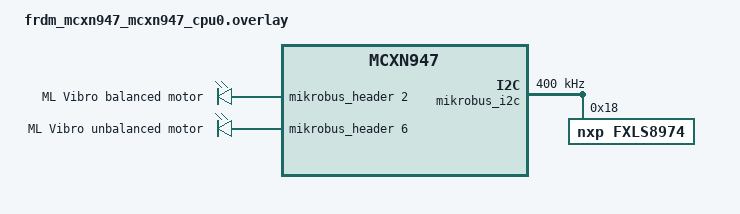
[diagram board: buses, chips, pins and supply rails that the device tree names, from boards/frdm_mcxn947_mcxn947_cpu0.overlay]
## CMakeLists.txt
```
# eIQ predictive-maintenance -- vibration (FRDM-MCXN947 + ML Vibro Sens Click).
# Capture mode (default) is network-free. Connect mode (-DEXTRA_CONF_FILE=
# connect.conf) pulls in the iotc-zephyr-sdk module (via ZEPHYR_EXTRA_MODULES)
# and the baked device credentials header.
cmake_minimum_required(VERSION 3.20.0)
find_package(Zephyr REQUIRED HINTS $ENV{ZEPHYR_BASE})
project(iotc_eiq_pdm_vibration)

target_sources(app PRIVATE src/main.c)

# quickstart_credentials.h: PUBLIC CA roots only (no device key). Connect mode
# provisions the per-device key/cert on-chip (iotcprov provision) into NVS.
# Capture mode builds without the SDK module, so only resolve it when needed.
if(CONFIG_IOTCONNECT)
  include(${CMAKE_CURRENT_SOURCE_DIR}/../../common/cmake/iotc_sdk_samples.cmake)
  target_include_directories(app PRIVATE ${IOTC_SDK_SAMPLES_DIR}/quickstart/src)
endif()

# Optional eIQ Time Series Studio model. Drop the TSS-generated deployment
# package (libtss.a + TimeSeries.h) into ./model/ and it links into the connect
# build, replacing the RMS heuristic with the trained per-sample classifier.
# The library is NXP-proprietary (git-ignored); see model/README.md to generate.
set(EIQ_MODEL_DIR ${CMAKE_CURRENT_SOURCE_DIR}/model)
if(CONFIG_IOTCONNECT AND EXISTS ${EIQ_MODEL_DIR}/libtss.a
                     AND EXISTS ${EIQ_MODEL_DIR}/TimeSeries.h)
  message(STATUS "eiq-pdm-vibration: linking eIQ TSS model from ${EIQ_MODEL_DIR}")
  target_include_directories(app PRIVATE ${EIQ_MODEL_DIR})
  target_link_libraries(app PRIVATE ${EIQ_MODEL_DIR}/libtss.a)
  target_compile_definitions(app PRIVATE HAVE_EIQ_MODEL)
endif()
```

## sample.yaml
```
sample:
  name: eIQ PdM vibration capture
  description: >
    Capture 3-axis vibration from a MIKROE ML Vibro Sens Click (NXP FXLS8974CF)
    on the FRDM-MCXN947 mikroBUS and print CSV for NXP eIQ Time Series Studio, to
    train a machine-vibration anomaly / predictive-maintenance model.
tests:
  sample.iotconnect.eiq_pdm_vibration_capture:
    harness: console
    platform_allow:
      - frdm_mcxn947/mcxn947/cpu0
    harness_config:
      type: one_line
      regex:
        - "VIB,\\d+,.*"
    tags:
      - iotconnect
      - eiq
      - sensor
```

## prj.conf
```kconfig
# eIQ PdM vibration capture -- network-free (I2C + console only).
CONFIG_PRINTK=y

# mikroBUS I2C + the FXLS8974 accelerometer via the Zephyr sensor API.
CONFIG_I2C=y
CONFIG_SENSOR=y
CONFIG_FXLS8974=y
CONFIG_FXLS8974_TRIGGER_NONE=y

# GPIO to drive the Click's onboard balanced/unbalanced vibration motors.
CONFIG_GPIO=y

# printk("%.4f", ...) needs float-capable libc output.
CONFIG_PICOLIBC=y
CONFIG_PICOLIBC_IO_FLOAT=y

CONFIG_MAIN_STACK_SIZE=4096
```

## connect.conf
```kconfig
# Phase 2 -- connect to /IOTCONNECT and publish vib telemetry + handle C2D.
# Layer this on the base (capture) build:
#   -DEXTRA_CONF_FILE=connect.conf -DEXTRA_DTC_OVERLAY_FILE=connect.overlay
# plus the SDK module paths (ZEPHYR_EXTRA_MODULES / ZEPHYR_IOTC_C_LIB_MODULE_DIR).

CONFIG_IOTCONNECT=y
CONFIG_IOTCONNECT_DRA=y
CONFIG_IOTCONNECT_CPID=""
CONFIG_IOTCONNECT_ENV=""
CONFIG_IOTCONNECT_DUID=""
CONFIG_IOTCONNECT_CT_AWS=y
CONFIG_IOTCONNECT_DRA_DISCOVERY_HOST="awsdiscovery.iotconnect.io"

# --- On-device provisioning: the device generates its OWN key + self-signed
# cert (iotcprov provision <duid>), you register it and paste the config
# (iotc config), identity is stored in NVS. No device key is compiled in --
# only public CA roots (quickstart_credentials.h). ----------------------------
CONFIG_IOTCONNECT_IDENTITY_NVS=y
CONFIG_IOTCONNECT_ONDEVICE_KEYGEN=y
CONFIG_IOTCONNECT_SHELL=y
CONFIG_MBEDTLS_USER_CONFIG_FILE="iotc_mbedtls_config.h"   # enables X509_CREATE_C
CONFIG_PSA_WANT_ALG_ECDSA=y
CONFIG_PSA_WANT_KEY_TYPE_ECC_KEY_PAIR_GENERATE=y
CONFIG_PSA_WANT_KEY_TYPE_ECC_KEY_PAIR_EXPORT=y
CONFIG_PSA_WANT_ECC_SECP_R1_256=y
CONFIG_SHELL=y
CONFIG_SHELL_CMD_BUFF_SIZE=3072
CONFIG_SHELL_BACKEND_SERIAL_RX_RING_BUFFER_SIZE=4096
CONFIG_SHELL_STACK_SIZE=8192
CONFIG_KERNEL_SHELL=y
CONFIG_LOG=y

# --- Ethernet bearer (ENET-QoS + LAN8741; DT in connect.overlay) ---
CONFIG_NET_L2_ETHERNET=y
CONFIG_ETH_NXP_ENET_QOS=y
CONFIG_ETH_NXP_ENET_QOS_MAC=y
CONFIG_MDIO=y
CONFIG_NET_DHCPV4=y
CONFIG_NET_CONFIG_AUTO_INIT=y
CONFIG_NET_CONFIG_NEED_IPV4=y
CONFIG_NET_CONFIG_SETTINGS=y
CONFIG_NET_PKT_RX_COUNT=16
CONFIG_NET_PKT_TX_COUNT=16
CONFIG_NET_BUF_RX_COUNT=32
CONFIG_NET_BUF_TX_COUNT=32

# --- net / TLS / MQTT stack ---
CONFIG_NETWORKING=y
CONFIG_NET_NATIVE=y
CONFIG_NET_IPV4=y
CONFIG_NET_IPV6=n
CONFIG_NET_TCP=y
CONFIG_NET_UDP=y
CONFIG_NET_SOCKETS=y
CONFIG_NET_SOCKETS_SOCKOPT_TLS=y
CONFIG_NET_SOCKETS_TLS_MAX_CONTEXTS=4
CONFIG_DNS_RESOLVER=y
CONFIG_NET_CONNECTION_MANAGER=y
CONFIG_NET_MGMT=y
CONFIG_NET_MGMT_EVENT=y
CONFIG_POSIX_API=y
CONFIG_TLS_CREDENTIALS=y
CONFIG_MBEDTLS=y
CONFIG_MBEDTLS_ENABLE_HEAP=y
CONFIG_MBEDTLS_HEAP_SIZE=75000
CONFIG_MBEDTLS_SSL_MAX_CONTENT_LEN=16384
CONFIG_MBEDTLS_PEM_PARSE_C=y
CONFIG_MBEDTLS_SSL_SERVER_NAME_INDICATION=y
CONFIG_MBEDTLS_CIPHERSUITE_TLS_ECDHE_RSA_WITH_AES_128_GCM_SHA256=y
# discovery.iotconnect.io (production instances) only accepts TLS 1.2 CBC suites
CONFIG_MBEDTLS_CIPHERSUITE_TLS_ECDHE_RSA_WITH_AES_128_CBC_SHA256=y
CONFIG_MBEDTLS_CIPHERSUITE_TLS_ECDHE_ECDSA_WITH_AES_128_GCM_SHA256=y
CONFIG_ENTROPY_GENERATOR=y
CONFIG_MQTT_LIB=y
CONFIG_MQTT_LIB_TLS=y
CONFIG_MQTT_KEEPALIVE=30
CONFIG_HTTP_CLIENT=y
CONFIG_SNTP=y
CONFIG_POSIX_TIMERS=y
CONFIG_SETTINGS=y
CONFIG_SETTINGS_NVS=y
CONFIG_NVS=y
CONFIG_FLASH=y
CONFIG_FLASH_MAP=y

# --- app ---
# Enable the Cortex-M33 FPU + hard-float ABI. The MCXN947 has an FPU, and the
# eIQ Time Series Studio model (model/libtss.a) is compiled hard-float (VFP
# register args) -- without this the build is soft-float and the model won't
# link ("uses VFP register arguments"). Also speeds up the float inference.
CONFIG_FPU=y
CONFIG_IOTCONNECT_THREAD_STACK_SIZE=4096
CONFIG_IOTCONNECT_LOG_LEVEL_INF=y
CONFIG_IOTCONNECT_DEVICE_VITALS=y
CONFIG_REBOOT=y
CONFIG_HEAP_MEM_POOL_SIZE=32768
CONFIG_MAIN_STACK_SIZE=8192
```

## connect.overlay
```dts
/*
 * Phase 2 (connect mode) only: enable the FRDM-MCXN947 Ethernet (ENET-QoS +
 * LAN8741) for the /IOTCONNECT uplink. Applied on top of the base board overlay
 * via -DEXTRA_DTC_OVERLAY_FILE=connect.overlay so the capture build stays
 * network-free.
 */

&enet {
	pinctrl-0 = <&pinmux_enet_qos>;
	pinctrl-names = "default";
	status = "okay";
};

&enet_mac {
	status = "okay";
	phy-connection-type = "rmii";
	zephyr,random-mac-address;
	phy-handle = <&phy>;
};

&enet_mdio {
	status = "okay";

	phy: ethernet-phy@0 {
		compatible = "ethernet-phy";
		reg = <0>;
		status = "okay";
	};
};
```

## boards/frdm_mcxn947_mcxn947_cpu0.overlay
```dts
/*
 * FRDM-MCXN947 + MIKROE ML Vibro Sens Click on the mikroBUS / Shuttle:
 *   - FXLS8974CF 3-axis accelerometer on the mikroBUS I2C (@0x18), read via the
 *     Zephyr nxp,fxls8974 sensor driver.
 *   - The Click's two onboard DC vibration motors, driven as active-high GPIOs:
 *       BAL (balanced, steady "healthy" baseline) -> mikroBUS CS  (gpio3 23)
 *       UNB (unbalanced, "fault" pattern)         -> mikroBUS PWM (gpio3 19)
 * No Ethernet needed -- capture is network-free.
 */

#include <zephyr/dt-bindings/gpio/gpio.h>

&mikrobus_i2c {
	status = "okay";
	clock-frequency = <400000>;

	fxls8974: fxls8974@18 {
		compatible = "nxp,fxls8974";
		reg = <0x18>;
		status = "okay";
	};
};

/ {
	/* gpio-leds gives the two motor pins a typed "gpios" property (we drive them
	 * as plain GPIOs from the app; no LED driver needed). */
	vibro_motors {
		compatible = "gpio-leds";
		bal_motor: bal_motor {
			gpios = <&mikrobus_header 2 GPIO_ACTIVE_HIGH>;  /* CS  -> balanced */
			label = "ML Vibro balanced motor";
		};
		unb_motor: unb_motor {
			gpios = <&mikrobus_header 6 GPIO_ACTIVE_HIGH>;  /* PWM -> unbalanced */
			label = "ML Vibro unbalanced motor";
		};
	};
};
```

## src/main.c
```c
/*
 * Copyright (c) 2026 Avnet, Inc.
 * SPDX-License-Identifier: MIT
 *
 * eIQ predictive-maintenance -- vibration (FRDM-MCXN947 + MIKROE ML Vibro Sens
 * Click: FXLS8974CF accelerometer + two onboard DC motors).
 *
 * Two build modes share the same sensor + motor code:
 *
 *  - CAPTURE (default, network-free): drive the motors through a labeled state
 *    cycle and print CSV (VIB,t_ms,state,ax,ay,az) for eIQ Time Series Studio
 *    training. (Phase 1.)
 *
 *  - CONNECT (CONFIG_IOTCONNECT=y, via -DEXTRA_CONF_FILE=connect.conf): connect
 *    to /IOTCONNECT, window the accelerometer, classify the machine state
 *    (RMS-threshold heuristic today; drop in the eIQ Neutron-NPU model later),
 *    and publish vib.* telemetry (+ the sys device-vitals sidecar). C2D commands
 *    drive the motors -- inject-fault / inject-healthy / motor-stop -- so a fault
 *    can be injected from the cloud and watched being detected. (Phase 2.)
 */

#include <zephyr/kernel.h>
#include <zephyr/drivers/sensor.h>
#include <zephyr/drivers/gpio.h>
#include <zephyr/sys/printk.h>
#include <math.h>

#define SAMPLE_HZ   100
#define SAMPLE_MS   (1000 / SAMPLE_HZ)
#define G_PER_MS2   (1.0 / 9.80665)   /* Zephyr accel channels are m/s^2 */

enum vib_state { ST_IDLE, ST_BALANCED, ST_UNBALANCED, ST_BOTH, ST_COUNT };
static const char *const state_name[ST_COUNT] = {
	"idle", "balanced", "unbalanced", "both",
};

static const struct device *const accel = DEVICE_DT_GET(DT_NODELABEL(fxls8974));
static const struct gpio_dt_spec bal =
	GPIO_DT_SPEC_GET(DT_NODELABEL(bal_motor), gpios);
static const struct gpio_dt_spec unb =
	GPIO_DT_SPEC_GET(DT_NODELABEL(unb_motor), gpios);

static bool read_accel(double g[3])
{
	struct sensor_value a[3];

	if (sensor_sample_fetch(accel) != 0 ||
	    sensor_channel_get(accel, SENSOR_CHAN_ACCEL_XYZ, a) != 0) {
		return false;
	}
	g[0] = sensor_value_to_double(&a[0]) * G_PER_MS2;
	g[1] = sensor_value_to_double(&a[1]) * G_PER_MS2;
	g[2] = sensor_value_to_double(&a[2]) * G_PER_MS2;
	return true;
}

/* Apply a motor state. The unbalanced motor is software-pulsed (~30%% duty at
 * 5 Hz via phase_ms) so it is never held at continuous full power. */
static void motors_apply(enum vib_state st, int64_t phase_ms)
{
	bool unb_active = (st == ST_UNBALANCED || st == ST_BOTH);

	gpio_pin_set_dt(&bal, (st == ST_BALANCED || st == ST_BOTH) ? 1 : 0);
	gpio_pin_set_dt(&unb, (unb_active && (phase_ms % 200) < 60) ? 1 : 0);
}

static int hw_init(void)
{
	if (!device_is_ready(accel)) {
		printk("ERROR: FXLS8974 accelerometer not ready\n");
		return -1;
	}
	if (!gpio_is_ready_dt(&bal) || !gpio_is_ready_dt(&unb)) {
		printk("ERROR: vibro-motor GPIOs not ready\n");
		return -1;
	}
	gpio_pin_configure_dt(&bal, GPIO_OUTPUT_INACTIVE);
	gpio_pin_configure_dt(&unb, GPIO_OUTPUT_INACTIVE);

	/* Raise the output data rate. The driver defaults to 6.25 Hz, and the
	 * FXLS8974 only accepts an ODR change in STANDBY, so drop to standby, set
	 * the rate on SENSOR_CHAN_ALL, then re-activate. Without this the sensor
	 * repeats each reading ~16x under a 100 Hz poll -> useless for vibration. */
	extern int fxls8974_set_active(const struct device *dev, uint8_t active);
	struct sensor_value odr = { .val1 = 400, .val2 = 0 };

	(void)fxls8974_set_active(accel, 0x00);   /* standby (ACTIVE bit clear) */
	if (sensor_attr_set(accel, SENSOR_CHAN_ALL,
			    SENSOR_ATTR_SAMPLING_FREQUENCY, &odr) != 0) {
		printk("WARN: could not set ODR (400 Hz); using sensor default\n");
	}
	(void)fxls8974_set_active(accel, 0x01);   /* active */
	return 0;
}

#if !defined(CONFIG_IOTCONNECT)
/* ======================= CAPTURE mode (Phase 1) ========================= */
#define STATE_MS 4000

int main(void)
{
	printk("\n=== eIQ PdM vibration capture (FXLS8974 + onboard motors) ===\n");
	printk("Labeled motor-state cycle @~%d Hz. CSV: VIB,t_ms,state,ax,ay,az\n\n",
	       SAMPLE_HZ);

	if (hw_init()) {
		return 0;
	}
	printk("VIB,t_ms,state,ax_g,ay_g,az_g\n");

	int last = -1;

	while (1) {
		int64_t t = k_uptime_get();
		enum vib_state st = (t / STATE_MS) % ST_COUNT;

		if ((int)st != last) {
			last = st;
			printk("# state -> %s\n", state_name[st]);
		}
		motors_apply(st, t);

		double g[3];

		if (read_accel(g)) {
			printk("VIB,%lld,%s,%.4f,%.4f,%.4f\n", t, state_name[st],
			       g[0], g[1], g[2]);
		}
		k_msleep(SAMPLE_MS);
	}
	return 0;
}

#else
/* ======================= CONNECT mode (Phase 2) ========================= */
#include <zephyr/logging/log.h>
#include <zephyr/net/net_if.h>
#include <zephyr/net/net_mgmt.h>
#include <zephyr/net/conn_mgr_monitor.h>
#include <zephyr/net/conn_mgr_connectivity.h>
#include <zephyr/sys/reboot.h>
#include <ctype.h>
#include <stdlib.h>

#include "iotconnect.h"
#include "iotcl.h"
#include "iotcl_telemetry.h"
#include "iotcl_c2d.h"
#include "iotc_time.h"
#include "iotconnect_identity.h"   /* NVS-provisioned device identity */
#if defined(CONFIG_IOTCONNECT_DEVICE_VITALS)
#include "iotconnect_vitals.h"
#endif
#include "quickstart_credentials.h" /* PUBLIC CA roots only (no device key) */

LOG_MODULE_REGISTER(eiq_pdm, LOG_LEVEL_INF);

static void print_guide(const char *reason)
{
	printk("\n");
	printk("========================================================\n");
	printk("  eIQ PdM VIBRATION -- device is not provisioned\n");
	printk("  (%s)\n", reason);
	printk("--------------------------------------------------------\n");
	printk("  1) Generate this device's identity ON the device:\n");
	printk("        iotcprov provision <your-duid>\n");
	printk("  2) In IOTCONNECT: Create Device (Self-Signed) and paste\n");
	printk("     the certificate it printed.\n");
	printk("  3) Paste the downloaded iotcDeviceConfig.json:\n");
	printk("        iotc config\n");
	printk("        { ...paste the json block... }\n");
	printk("  4) Connect:  kernel reboot cold\n");
	printk("========================================================\n\n");
}

static volatile enum vib_state demo_state = ST_IDLE; /* driven by C2D commands */
static int publish_interval_sec = 2;
static double thresh_fault = 0.35;   /* overall g-rms -> "fault"   */
static double thresh_warn  = 0.12;   /* overall g-rms -> "warning" */

#if defined(HAVE_EIQ_MODEL)
/* eIQ Time Series Studio model (drop-in from ./model/, see model/README.md).
 * It is a per-sample n-Class classifier: predict(ax,ay,az in g) -> class index
 * (idle/balanced/unbalanced/both) + probabilities. We run it on every sample of
 * the 1 s window and majority-vote for a stable state. */
#include "TimeSeries.h"

static const tss_cls_task_ops_t *g_cls;   /* NULL until init succeeds */

/* Map a raw model class to the demo-facing health string. The trained classes
 * mirror enum vib_state, so the index lines up 1:1. "both" = balanced+unbalanced
 * together, which is still a fault condition. */
static const char *class_to_health(int cls)
{
	switch (cls) {
	case ST_IDLE:       return "healthy";   /* motor off, no vibration */
	case ST_BALANCED:   return "healthy";
	case ST_UNBALANCED: return "fault";
	case ST_BOTH:       return "fault";
	default:            return "unknown";
	}
}

static void model_init(void)
{
	const tss_task_ops_t *ops = tss_get_task_ops();

	if (ops != NULL && ops->task == TASK_CLS &&
	    ops->cls_ops.init() == TSS_SUCCESS) {
		g_cls = &ops->cls_ops;
		LOG_INF("eIQ TSS model ready: %d-class classifier (per-sample)",
			ops->algo_attribute ? ops->algo_attribute()->target_num
					    : ST_COUNT);
	} else {
		LOG_WRN("eIQ TSS model init failed; falling back to RMS heuristic");
	}
}
#endif /* HAVE_EIQ_MODEL */

/* Collect a ~1 s window of accelerometer while driving the current motor state.
 * Returns per-axis RMS of the AC component + overall vibration magnitude (g).
 * When an eIQ model is linked, also classifies every sample and returns the
 * majority-vote class (else *maj_class = -1) plus the mean fault probability. */
static void vib_window(double rms[3], double *overall, int *maj_class,
		       double *fault_prob)
{
	enum vib_state st = demo_state;
	double sum[3] = {0}, sumsq[3] = {0};
	int n = 0;
	int64_t t0 = k_uptime_get();
#if defined(HAVE_EIQ_MODEL)
	int votes[ST_COUNT] = {0};
	double fault_sum = 0.0;   /* per-sample P(unbalanced) + P(both) */
	int cls_n = 0;
#endif

	while (k_uptime_get() - t0 < 1000) {
		double g[3];

		motors_apply(st, k_uptime_get());
		if (read_accel(g)) {
			for (int i = 0; i < 3; i++) {
				sum[i] += g[i];
				sumsq[i] += g[i] * g[i];
			}
			n++;
#if defined(HAVE_EIQ_MODEL)
			if (g_cls != NULL) {
				float in[3] = { (float)g[0], (float)g[1],
						(float)g[2] };
				float prob[ST_COUNT] = {0};
				int cls = -1;

				if (g_cls->predict(in, prob, &cls) == TSS_SUCCESS &&
				    cls >= 0 && cls < ST_COUNT) {
					votes[cls]++;
					fault_sum += (double)prob[ST_UNBALANCED] +
						     (double)prob[ST_BOTH];
					cls_n++;
				}
			}
#endif
		}
		k_msleep(SAMPLE_MS);
	}

	double var_sum = 0;

	for (int i = 0; i < 3; i++) {
		double mean = n ? sum[i] / n : 0;
		double var = n ? (sumsq[i] / n - mean * mean) : 0;

		rms[i] = (var > 0) ? sqrt(var) : 0;
		var_sum += (var > 0) ? var : 0;
	}
	*overall = sqrt(var_sum);

	*maj_class = -1;
	*fault_prob = 0.0;
#if defined(HAVE_EIQ_MODEL)
	if (g_cls != NULL && cls_n > 0) {
		int best = 0;

		for (int i = 1; i < ST_COUNT; i++) {
			if (votes[i] > votes[best]) {
				best = i;
			}
		}
		*maj_class = best;
		*fault_prob = fault_sum / cls_n;
	}
#endif
}

static const char *classify(double overall, double *score)
{
	double s = (overall - 0.03) / (thresh_fault - 0.03);

	*score = (s < 0) ? 0 : (s > 1) ? 1 : s;
	if (overall >= thresh_fault) {
		return "fault";
	}
	if (overall >= thresh_warn) {
		return "warning";
	}
	return "healthy";
}

static void publish_vib(void)
{
	double rms[3], overall, score;
	int maj_class;
	double fault_prob;

	vib_window(rms, &overall, &maj_class, &fault_prob);

	const char *st;
	const char *source;

#if defined(HAVE_EIQ_MODEL)
	if (maj_class >= 0) {
		st = class_to_health(maj_class);   /* trained eIQ classifier  */
		score = fault_prob;
		source = "eiq-model";
	} else
#endif
	{
		st = classify(overall, &score);    /* RMS-threshold fallback  */
		source = "rms-heuristic";
	}

	IotclMessageHandle msg = iotcl_telemetry_create();

	if (msg == NULL) {
		return;
	}
	iotcl_telemetry_set_string(msg, "vib.state", st);
	iotcl_telemetry_set_number(msg, "vib.anomaly_score", score);
	iotcl_telemetry_set_number(msg, "vib.rms_g", overall);
	iotcl_telemetry_set_number(msg, "vib.rms_x", rms[0]);
	iotcl_telemetry_set_number(msg, "vib.rms_y", rms[1]);
	iotcl_telemetry_set_number(msg, "vib.rms_z", rms[2]);
	iotcl_telemetry_set_string(msg, "vib.motor", state_name[demo_state]);
	iotcl_telemetry_set_string(msg, "vib.source", source);
	if (maj_class >= 0) {
		iotcl_telemetry_set_string(msg, "vib.model_class",
					   state_name[maj_class]);
	}
#if defined(CONFIG_IOTCONNECT_DEVICE_VITALS)
	iotc_vitals_append(msg);
#endif
	(void)iotcl_mqtt_send_telemetry(msg, false);
	iotcl_telemetry_destroy(msg);
	LOG_INF("vib: state=%s score=%.2f rms=%.3f src=%s (driving %s)",
		st, score, overall, source, state_name[demo_state]);
}

/* --- C2D command handling ------------------------------------------------- */

static bool ci_contains(const char *haystack, const char *needle)
{
	for (const char *h = haystack; *h != '\0'; h++) {
		size_t i = 0;

		while (needle[i] != '\0' &&
		       tolower((unsigned char)h[i]) == tolower((unsigned char)needle[i])) {
			i++;
		}
		if (needle[i] == '\0') {
			return true;
		}
	}
	return needle[0] == '\0';
}

static void on_command(IotclC2dEventData data)
{
	const char *cmd = iotcl_c2d_get_command(data);
	const char *ack = iotcl_c2d_get_ack_id(data);
	int status = IOTCL_C2D_EVT_CMD_FAILED;

	LOG_INF("C2D command: %s", cmd ? cmd : "(null)");
	if (cmd != NULL) {
		if (ci_contains(cmd, "fault")) {          /* inject-fault */
			demo_state = ST_UNBALANCED;
			status = IOTCL_C2D_EVT_CMD_SUCCESS_WITH_ACK;
		} else if (ci_contains(cmd, "healthy")) { /* inject-healthy */
			demo_state = ST_BALANCED;
			status = IOTCL_C2D_EVT_CMD_SUCCESS_WITH_ACK;
		} else if (ci_contains(cmd, "both")) {
			demo_state = ST_BOTH;
			status = IOTCL_C2D_EVT_CMD_SUCCESS_WITH_ACK;
		} else if (ci_contains(cmd, "stop") || ci_contains(cmd, "idle") ||
			   ci_contains(cmd, "off")) {
			demo_state = ST_IDLE;
			status = IOTCL_C2D_EVT_CMD_SUCCESS_WITH_ACK;
		} else if (ci_contains(cmd, "threshold")) {
			double v = atof(strpbrk(cmd, "0123456789") ?: "");

			if (v > 0.0 && v < 2.0) {
				thresh_fault = v;
				status = IOTCL_C2D_EVT_CMD_SUCCESS_WITH_ACK;
			}
		} else if (ci_contains(cmd, "interval")) {
			int v = atoi(strpbrk(cmd, "0123456789") ?: "");

			if (v >= 1 && v <= 3600) {
				publish_interval_sec = v;
				status = IOTCL_C2D_EVT_CMD_SUCCESS_WITH_ACK;
			}
		} else if (ci_contains(cmd, "reboot")) {
			if (ack != NULL) {
				(void)iotcl_mqtt_send_cmd_ack(
					ack, IOTCL_C2D_EVT_CMD_SUCCESS_WITH_ACK, NULL);
			}
			k_sleep(K_MSEC(500));
			sys_reboot(SYS_REBOOT_COLD);
		}
	}
	if (ack != NULL) {
		(void)iotcl_mqtt_send_cmd_ack(ack, status,
			status == IOTCL_C2D_EVT_CMD_FAILED ? "unknown command" : NULL);
	}
}

/* --- Network bring-up ----------------------------------------------------- */

static K_SEM_DEFINE(l4_connected_sem, 0, 1);
static struct net_mgmt_event_callback l4_cb;
#define L4_EVENT_MASK (NET_EVENT_L4_CONNECTED | NET_EVENT_L4_DISCONNECTED)

static void l4_event_handler(struct net_mgmt_event_callback *cb,
			     uint64_t mgmt_event, struct net_if *iface)
{
	ARG_UNUSED(cb);
	ARG_UNUSED(iface);
	if (mgmt_event == NET_EVENT_L4_CONNECTED) {
		k_sem_give(&l4_connected_sem);
	}
}

static int network_up(void)
{
	struct net_if *iface = net_if_get_default();

	if (iface == NULL) {
		return -ENODEV;
	}
	net_mgmt_init_event_callback(&l4_cb, l4_event_handler, L4_EVENT_MASK);
	net_mgmt_add_event_callback(&l4_cb);
	if (!net_if_is_up(iface)) {
		int ret = net_if_up(iface);

		if (ret && ret != -EALREADY) {
			return ret;
		}
	}
	conn_mgr_mon_resend_status();
	LOG_INF("Waiting for network connectivity...");
	k_sem_take(&l4_connected_sem, K_FOREVER);
	return 0;
}

int main(void)
{
	struct iotc_identity id;
	int ret;

	LOG_INF("eIQ PdM vibration monitor starting");
	if (hw_init()) {
		return 0;
	}
#if defined(HAVE_EIQ_MODEL)
	model_init();
#endif
	/* Identity is provisioned at the prompt: iotcprov provision <duid>, then
	 * register the printed cert and paste iotcDeviceConfig.json (iotc config). */
	if (iotc_identity_load(&id) != 0) {
		print_guide("no identity stored in NVS");
		return 0; /* stay alive at the shell for provisioning */
	}
	LOG_INF("Provisioned as duid=%s -- bringing up network", id.duid);

	if (network_up() != 0) {
		return 0;
	}
	ret = iotc_time_sync(CONFIG_IOTCONNECT_SNTP_SERVER,
			     CONFIG_IOTCONNECT_SNTP_TIMEOUT_MS);
	if (ret) {
		LOG_ERR("SNTP sync failed (%d)", ret);
		return 0;
	}

	IotConnectClientConfig config;

	iotconnect_sdk_init_config(&config);
#if defined(CONFIG_IOTCONNECT_CT_AWS)
	config.connection_type = IOTC_CT_AWS;
#elif defined(CONFIG_IOTCONNECT_CT_AZURE)
	config.connection_type = IOTC_CT_AZURE;
#endif
	config.cpid = (char *)id.cpid;
	config.env = (char *)id.env;
	config.duid = (char *)id.duid;
	config.auth_info.type = IOTC_AT_X509;
	config.auth_info.ca_cert = broker_ca_pem;      /* public roots, compiled in */
	config.auth_info.ca_cert_len = sizeof(broker_ca_pem);
	config.auth_info.dra_ca = dra_ca_pem;
	config.auth_info.dra_ca_len = sizeof(dra_ca_pem);
	config.auth_info.data.cert_info.device_cert = id.device_cert;   /* from NVS */
	config.auth_info.data.cert_info.device_cert_len = id.device_cert_len;
	config.auth_info.data.cert_info.device_key = id.device_key;     /* from NVS */
	config.auth_info.data.cert_info.device_key_len = id.device_key_len;
	config.cmd_cb = on_command;
	config.verbose = true;

	ret = iotconnect_sdk_init(&config);
	if (ret) {
		LOG_ERR("iotconnect_sdk_init failed (%d)", ret);
		return 0;
	}

	while (true) {
		ret = iotconnect_sdk_connect();
		if (ret) {
			LOG_ERR("connect failed (%d); retrying", ret);
			k_sleep(K_SECONDS(5));
			continue;
		}
		LOG_INF("Connected. Send C2D 'inject-fault' / 'inject-healthy' / "
			"'motor-stop' to drive the demo.");
		while (iotconnect_sdk_is_connected()) {
			publish_vib();
			k_sleep(K_SECONDS(publish_interval_sec));
		}
		iotconnect_sdk_disconnect();
		LOG_WRN("Disconnected; reconnecting...");
	}
	return 0;
}
#endif /* CONFIG_IOTCONNECT */
```
